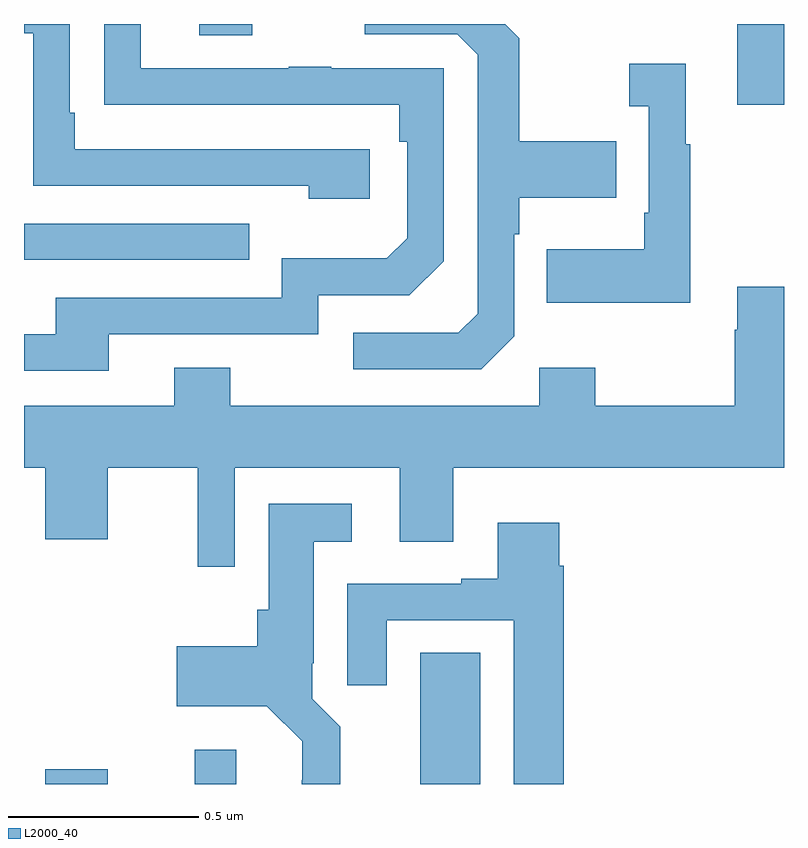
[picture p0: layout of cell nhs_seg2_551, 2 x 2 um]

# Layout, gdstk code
import gdstk
lib = gdstk.Library(unit=1e-6, precision=1e-09)
def R(c, l, rs):  # rectangles x0, y0, x1, y1
    for r in rs: c.add(gdstk.rectangle(r[:2], r[2:], *l))
def P(c, l, *ps):  # polygons
    for p in ps: c.add(gdstk.Polygon(p, *l))
L2000_40 = (2000, 40)

nhs_seg2_551 = lib.new_cell('nhs_seg2_551')
R(nhs_seg2_551, L2000_40, [(117.056,650.8,117.22,650.839), (117.449,650.8,117.559,650.89), (118.043,650.8,118.201,651.146), (117,652.179,117.593,652.275), (118.877,652.587,119,652.8), (117.461,652.77,117.601,652.8)])
P(nhs_seg2_551, L2000_40, [(118.29,651.978),(118.29,652.247),(118.303,652.247),(118.303,652.343),(118.559,652.343),(118.559,652.491),(118.303,652.491),(118.303,652.763),(118.266,652.8),(117.897,652.8),(117.897,652.773),(118.14,652.773),(118.194,652.719),(118.194,652.038),(118.143,651.987),(117.867,651.987),(117.867,651.891),(118.203,651.891)],
  [(117.91,652.47),(117.133,652.47),(117.133,652.567),(117.12,652.567),(117.12,652.8),(117,652.8),(117,652.776),(117.024,652.776),(117.024,652.374),(117.749,652.374),(117.749,652.34),(117.91,652.34)],
  [(117.223,651.984),(117.774,651.984),(117.774,652.086),(118.014,652.086),(118.104,652.176),(118.104,652.683),(117.809,652.683),(117.809,652.688),(117.697,652.688),(117.697,652.683),(117.307,652.683),(117.307,652.8),(117.211,652.8),(117.211,652.588),(117.313,652.588),(117.313,652.587),(117.988,652.587),(117.988,652.49),(118.008,652.49),(118.008,652.236),(117.955,652.183),(117.678,652.183),(117.678,652.08),(117.083,652.08),(117.083,651.984),(117,651.984),(117,651.888),(117.223,651.888)],
  [(118.753,652.483),(118.741,652.483),(118.741,652.696),(118.593,652.696),(118.593,652.583),(118.644,652.583),(118.644,652.303),(118.632,652.303),(118.632,652.207),(118.375,652.207),(118.375,652.067),(118.753,652.067)],
  [(117.555,651.632),(117.989,651.632),(117.989,651.438),(118.129,651.438),(118.129,651.632),(119,651.632),(119,652.108),(118.877,652.108),(118.877,651.995),(118.87,651.995),(118.87,651.796),(118.503,651.796),(118.503,651.895),(118.356,651.895),(118.356,651.796),(117.543,651.796),(117.543,651.895),(117.395,651.895),(117.395,651.796),(117,651.796),(117,651.632),(117.056,651.632),(117.056,651.444),(117.22,651.444),(117.22,651.632),(117.457,651.632),(117.457,651.372),(117.555,651.372)],
  [(117.832,650.951),(117.759,651.024),(117.759,651.118),(117.763,651.118),(117.763,651.437),(117.862,651.437),(117.862,651.538),(117.644,651.538),(117.644,651.258),(117.614,651.258),(117.614,651.163),(117.402,651.163),(117.402,651.005),(117.639,651.005),(117.732,650.912),(117.732,650.81),(117.731,650.81),(117.731,650.8),(117.832,650.8)],
  [(118.421,651.374),(118.408,651.374),(118.408,651.487),(118.247,651.487),(118.247,651.34),(118.151,651.34),(118.151,651.327),(117.851,651.327),(117.851,651.06),(117.955,651.06),(117.955,651.231),(118.289,651.231),(118.289,650.8),(118.421,650.8)])

lib.write_gds('nhs_seg2_551.gds')
